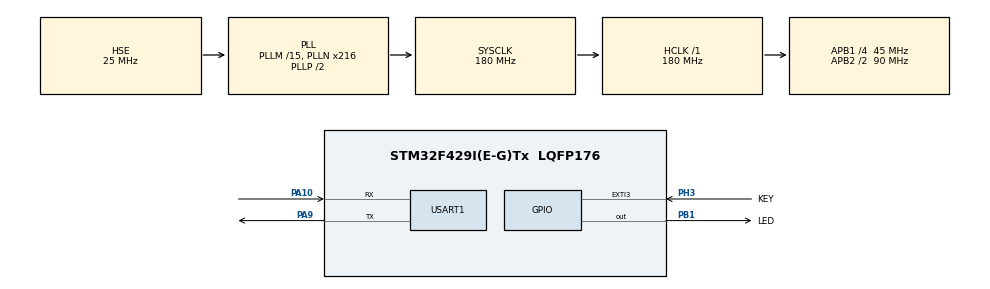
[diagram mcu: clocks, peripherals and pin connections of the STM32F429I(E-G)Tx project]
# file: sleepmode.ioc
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Mcu.Family=STM32F4
Mcu.Name=STM32F429I(E-G)Tx
Mcu.Package=LQFP176
NVIC.EXTI3_IRQn=true\:0\:0\:false\:false\:true\:true\:true\:true
NVIC.PriorityGroup=NVIC_PRIORITYGROUP_4
PA10.Mode=Asynchronous
PA10.Signal=USART1_RX
PA13.Mode=Serial_Wire
PA13.Signal=SYS_JTMS-SWDIO
PA14.Mode=Serial_Wire
PA14.Signal=SYS_JTCK-SWCLK
PA9.Mode=Asynchronous
PA9.Signal=USART1_TX
PB1.GPIO_Label=LED
PB1.GPIO_PuPd=GPIO_PULLUP
PB1.PinState=GPIO_PIN_SET
PB1.Signal=GPIO_Output
PH0/OSC_IN.Mode=HSE-External-Oscillator
PH0/OSC_IN.Signal=RCC_OSC_IN
PH1/OSC_OUT.Mode=HSE-External-Oscillator
PH1/OSC_OUT.Signal=RCC_OSC_OUT
PH3.GPIO_Label=KEY
PH3.GPIO_ModeDefaultEXTI=GPIO_MODE_IT_FALLING
PH3.GPIO_PuPd=GPIO_PULLUP
PH3.Signal=GPXTI3
ProjectManager.HeapSize=0x200
ProjectManager.StackSize=0x400
ProjectManager.TargetToolchain=MDK-ARM V5.32
RCC.48MHZClocksFreq_Value=90000000
RCC.AHBFreq_Value=180000000
RCC.APB1CLKDivider=RCC_HCLK_DIV4
RCC.APB1Freq_Value=45000000
RCC.APB1TimFreq_Value=90000000
RCC.APB2CLKDivider=RCC_HCLK_DIV2
RCC.APB2Freq_Value=90000000
RCC.APB2TimFreq_Value=180000000
RCC.CortexFreq_Value=180000000
RCC.HCLKFreq_Value=180000000
RCC.HSE_VALUE=25000000
RCC.HSI_VALUE=16000000
RCC.LSE_VALUE=32768
RCC.PLLM=15
RCC.PLLN=216
RCC.PLLSourceVirtual=RCC_PLLSOURCE_HSE
RCC.SYSCLKFreq_VALUE=180000000
RCC.SYSCLKSource=RCC_SYSCLKSOURCE_PLLCLK
RCC.VCOOutputFreq_Value=360000000
USART1.VirtualMode=VM_ASYNC
board=custom

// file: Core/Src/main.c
/* USER CODE BEGIN Header */
/**
  ******************************************************************************
  * @file           : main.c
  * @brief          : Main program body
  ******************************************************************************
  * @attention
  *
  * Copyright (c) 2025 STMicroelectronics.
  * All rights reserved.
  *
  * This software is licensed under terms that can be found in the LICENSE file
  * in the root directory of this software component.
  * If no LICENSE file comes with this software, it is provided AS-IS.
  *
  ******************************************************************************
  */
/* USER CODE END Header */
#include "main.h"
#include "usart.h"
#include "gpio.h"

/* USER CODE BEGIN Includes */
#include <stdio.h>
/* USER CODE END Includes */

void SystemClock_Config(void);

/* USER CODE BEGIN 0 */
int fputc(int ch, FILE *f)
{
    HAL_UART_Transmit(&huart1, (uint8_t *)&ch, 1, 10);
    return ch;
}

/* LED控制 */
#define LED_ON()    HAL_GPIO_WritePin(LED_GPIO_Port, LED_Pin, GPIO_PIN_RESET)
#define LED_OFF()   HAL_GPIO_WritePin(LED_GPIO_Port, LED_Pin, GPIO_PIN_SET)
#define LED_TOGGLE() HAL_GPIO_TogglePin(LED_GPIO_Port, LED_Pin)

/* LED闪烁 */
void LED_Blink(uint8_t times, uint32_t interval)
{
    for (uint8_t i = 0; i < times; i++) {
        LED_ON();
        HAL_Delay(interval);
        LED_OFF();
        HAL_Delay(interval);
    }
}

/* 进入Sleep模式 */
void Enter_Sleep_Mode(void)
{
    printf("Entering Sleep mode...\r\n");
    HAL_Delay(10);  /* 等待串口发送完成 */

    /* 暂停SysTick中断，避免被SysTick唤醒 */
    HAL_SuspendTick();

    /* 进入Sleep模式，等待中断唤醒 */
    HAL_PWR_EnterSLEEPMode(PWR_MAINREGULATOR_ON, PWR_SLEEPENTRY_WFI);

    /* 唤醒后恢复SysTick */
    HAL_ResumeTick();

    printf("Wakeup from Sleep!\r\n");
}
/* USER CODE END 0 */

int main(void)
{

  /* MCU Configuration--------------------------------------------------------*/

  /* Reset of all peripherals, Initializes the Flash interface and the Systick. */
  HAL_Init();

  /* Configure the system clock */
  SystemClock_Config();

  /* Initialize all configured peripherals */
  MX_GPIO_Init();
  MX_USART1_UART_Init();
  /* USER CODE BEGIN 2 */
  LED_Blink(3, 200);  /* 上电闪烁3次 */
  /* USER CODE END 2 */

  /* Infinite loop */
  while (1)
  {

    /* USER CODE BEGIN 3 */
		Enter_Sleep_Mode();

		/* 唤醒后LED亮3秒 */
		LED_ON();
		HAL_Delay(3000);
		LED_OFF();

		/* 闪烁3次后再次进入Sleep */
		LED_Blink(3, 200);
  }
  /* USER CODE END 3 */
}

void SystemClock_Config(void)
{
  RCC_OscInitTypeDef RCC_OscInitStruct = {0};
  RCC_ClkInitTypeDef RCC_ClkInitStruct = {0};

  /** Configure the main internal regulator output voltage
  */
  __HAL_RCC_PWR_CLK_ENABLE();
  __HAL_PWR_VOLTAGESCALING_CONFIG(PWR_REGULATOR_VOLTAGE_SCALE1);

  /** Initializes the RCC Oscillators according to the specified parameters
  * in the RCC_OscInitTypeDef structure.
  */
  RCC_OscInitStruct.OscillatorType = RCC_OSCILLATORTYPE_HSE;
  RCC_OscInitStruct.HSEState = RCC_HSE_ON;
  RCC_OscInitStruct.PLL.PLLState = RCC_PLL_ON;
  RCC_OscInitStruct.PLL.PLLSource = RCC_PLLSOURCE_HSE;
  RCC_OscInitStruct.PLL.PLLM = 15;
  RCC_OscInitStruct.PLL.PLLN = 216;
  RCC_OscInitStruct.PLL.PLLP = RCC_PLLP_DIV2;
  RCC_OscInitStruct.PLL.PLLQ = 4;
  if (HAL_RCC_OscConfig(&RCC_OscInitStruct) != HAL_OK)
  {
    Error_Handler();
  }

  /** Activate the Over-Drive mode
  */
  if (HAL_PWREx_EnableOverDrive() != HAL_OK)
  {
    Error_Handler();
  }

  /** Initializes the CPU, AHB and APB buses clocks
  */
  RCC_ClkInitStruct.ClockType = RCC_CLOCKTYPE_HCLK|RCC_CLOCKTYPE_SYSCLK
                              |RCC_CLOCKTYPE_PCLK1|RCC_CLOCKTYPE_PCLK2;
  RCC_ClkInitStruct.SYSCLKSource = RCC_SYSCLKSOURCE_PLLCLK;
  RCC_ClkInitStruct.AHBCLKDivider = RCC_SYSCLK_DIV1;
  RCC_ClkInitStruct.APB1CLKDivider = RCC_HCLK_DIV4;
  RCC_ClkInitStruct.APB2CLKDivider = RCC_HCLK_DIV2;

  if (HAL_RCC_ClockConfig(&RCC_ClkInitStruct, FLASH_LATENCY_5) != HAL_OK)
  {
    Error_Handler();
  }
}

/* USER CODE BEGIN 4 */
/* 外部中断回调 */
void HAL_GPIO_EXTI_Callback(uint16_t GPIO_Pin)
{
    if (GPIO_Pin == KEY_Pin) {
        /* 按键唤醒，这里可以不做事，唤醒后会继续执行main循环 */
    }
}
/* USER CODE END 4 */

void Error_Handler(void)
{
  __disable_irq();
  while (1)
  {
  }
}
